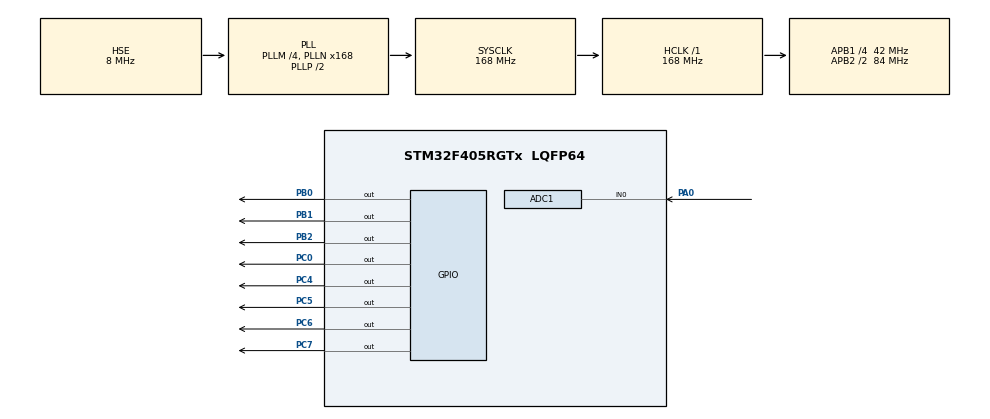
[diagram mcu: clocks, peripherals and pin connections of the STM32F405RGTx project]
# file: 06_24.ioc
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ADC1.Channel-0\#ChannelRegularConversion=ADC_CHANNEL_0
ADC1.NbrOfConversionFlag=1
ADC1.Rank-0\#ChannelRegularConversion=1
ADC1.SamplingTime-0\#ChannelRegularConversion=ADC_SAMPLETIME_3CYCLES
ADC1.master=1
Mcu.Family=STM32F4
Mcu.Name=STM32F405RGTx
Mcu.Package=LQFP64
NVIC.PriorityGroup=NVIC_PRIORITYGROUP_4
PA0-WKUP.Signal=ADCx_IN0
PA13.Mode=Serial_Wire
PA13.Signal=SYS_JTMS-SWDIO
PA14.Mode=Serial_Wire
PA14.Signal=SYS_JTCK-SWCLK
PB0.Signal=GPIO_Output
PB1.Signal=GPIO_Output
PB2.Signal=GPIO_Output
PC0.Signal=GPIO_Output
PC4.Signal=GPIO_Output
PC5.Signal=GPIO_Output
PC6.Signal=GPIO_Output
PC7.Signal=GPIO_Output
PH0-OSC_IN.Mode=HSE-External-Oscillator
PH0-OSC_IN.Signal=RCC_OSC_IN
PH1-OSC_OUT.Mode=HSE-External-Oscillator
PH1-OSC_OUT.Signal=RCC_OSC_OUT
ProjectManager.HeapSize=0x200
ProjectManager.StackSize=0x400
ProjectManager.TargetToolchain=EWARM V8.32
RCC.48MHZClocksFreq_Value=84000000
RCC.AHBFreq_Value=168000000
RCC.APB1CLKDivider=RCC_HCLK_DIV4
RCC.APB1Freq_Value=42000000
RCC.APB1TimFreq_Value=84000000
RCC.APB2CLKDivider=RCC_HCLK_DIV2
RCC.APB2Freq_Value=84000000
RCC.APB2TimFreq_Value=168000000
RCC.CortexFreq_Value=168000000
RCC.HCLKFreq_Value=168000000
RCC.HSE_VALUE=8000000
RCC.HSI_VALUE=16000000
RCC.LSE_VALUE=32768
RCC.PLLM=4
RCC.PLLN=168
RCC.PLLSourceVirtual=RCC_PLLSOURCE_HSE
RCC.SYSCLKFreq_VALUE=168000000
RCC.SYSCLKSource=RCC_SYSCLKSOURCE_PLLCLK
RCC.VCOOutputFreq_Value=336000000
SH.ADCx_IN0.0=ADC1_IN0,IN0
board=custom

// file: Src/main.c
/* USER CODE BEGIN Header */
/**
  ******************************************************************************
  * @file           : main.c
  * @brief          : Main program body
  ******************************************************************************
  * @attention
  *
  * <h2><center>&copy; Copyright (c) 2020 STMicroelectronics.
  * All rights reserved.</center></h2>
  *
  * This software component is licensed by ST under BSD 3-Clause license,
  * the "License"; You may not use this file except in compliance with the
  * License. You may obtain a copy of the License at:
  *                        opensource.org/licenses/BSD-3-Clause
  *
  ******************************************************************************
  */
/* USER CODE END Header */

#include "main.h"
#include "adc.h"
#include "gpio.h"

/* USER CODE BEGIN Includes */
#include "stdio.h"
#include "lcd.h"
/* USER CODE END Includes */

/* USER CODE BEGIN PV */
uint16_t adcData = 0;
char str[10];
/* USER CODE END PV */

void SystemClock_Config(void);

int main(void)
{

  /* MCU Configuration--------------------------------------------------------*/

  /* Reset of all peripherals, Initializes the Flash interface and the Systick. */
  HAL_Init();

  /* Configure the system clock */
  SystemClock_Config();

  /* Initialize all configured peripherals */
  MX_GPIO_Init();
  MX_ADC1_Init();
  /* USER CODE BEGIN 2 */
  lcdInit();
  //lcdGotoXY(0,0);
  /* USER CODE END 2 */

  /* Infinite loop */
  /* USER CODE BEGIN WHILE */
  //lcdDataWrite('H');
  //lcdGotoXY(0,1);
  //lcdPrintData("yeji world", 10);
  while (1)
  {
    //lcdClear();
    lcdGotoXY(0,0);
    lcdPrintData("ADC PLLTEST", 11);
    HAL_ADC_Start(&hadc1);
    HAL_ADC_PollForConversion(&hadc1, 10);
    adcData = HAL_ADC_GetValue(&hadc1);                         //dma 사용시 필요없음
    if(adcData < 1500)
    {
      HAL_GPIO_WritePin(GPIOC, GPIO_PIN_0, GPIO_PIN_SET);       //어두워지면 led ON
    }
    else
    {
      HAL_GPIO_WritePin(GPIOC, GPIO_PIN_0, GPIO_PIN_RESET);     // led OFF
    }
    sprintf(str, "ADC : %4d", adcData);                         //"ADC : %4d" 서식 지정 후 str에 저장
    lcdGotoXY(0, 1);                                            //lcd위치
    lcdPrint(str);                                              //str->lcd
    HAL_Delay(500);
    //lcd쪽으로 값 계속 주는중
    /* USER CODE END WHILE */

  }
}

void SystemClock_Config(void)
{
  RCC_OscInitTypeDef RCC_OscInitStruct = {0};
  RCC_ClkInitTypeDef RCC_ClkInitStruct = {0};

  /** Configure the main internal regulator output voltage
  */
  __HAL_RCC_PWR_CLK_ENABLE();
  __HAL_PWR_VOLTAGESCALING_CONFIG(PWR_REGULATOR_VOLTAGE_SCALE1);
  /** Initializes the CPU, AHB and APB busses clocks
  */
  RCC_OscInitStruct.OscillatorType = RCC_OSCILLATORTYPE_HSE;
  RCC_OscInitStruct.HSEState = RCC_HSE_ON;
  RCC_OscInitStruct.PLL.PLLState = RCC_PLL_ON;
  RCC_OscInitStruct.PLL.PLLSource = RCC_PLLSOURCE_HSE;
  RCC_OscInitStruct.PLL.PLLM = 4;
  RCC_OscInitStruct.PLL.PLLN = 168;
  RCC_OscInitStruct.PLL.PLLP = RCC_PLLP_DIV2;
  RCC_OscInitStruct.PLL.PLLQ = 4;
  if (HAL_RCC_OscConfig(&RCC_OscInitStruct) != HAL_OK)
  {
    Error_Handler();
  }
  /** Initializes the CPU, AHB and APB busses clocks
  */
  RCC_ClkInitStruct.ClockType = RCC_CLOCKTYPE_HCLK|RCC_CLOCKTYPE_SYSCLK
                              |RCC_CLOCKTYPE_PCLK1|RCC_CLOCKTYPE_PCLK2;
  RCC_ClkInitStruct.SYSCLKSource = RCC_SYSCLKSOURCE_PLLCLK;
  RCC_ClkInitStruct.AHBCLKDivider = RCC_SYSCLK_DIV1;
  RCC_ClkInitStruct.APB1CLKDivider = RCC_HCLK_DIV4;
  RCC_ClkInitStruct.APB2CLKDivider = RCC_HCLK_DIV2;

  if (HAL_RCC_ClockConfig(&RCC_ClkInitStruct, FLASH_LATENCY_5) != HAL_OK)
  {
    Error_Handler();
  }
}

void Error_Handler(void)
{
}

/************************ (C) COPYRIGHT STMicroelectronics *****END OF FILE****/
